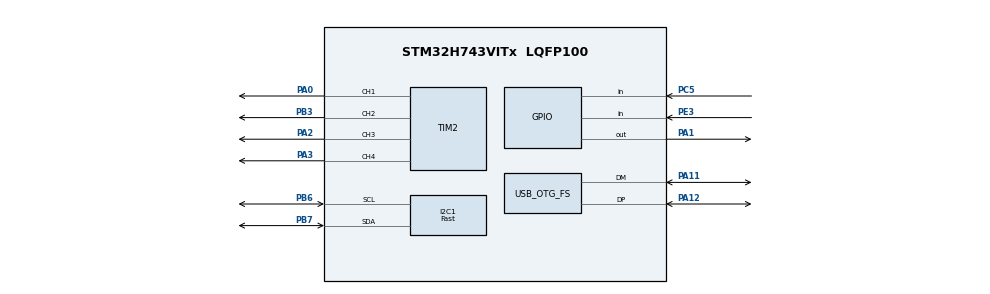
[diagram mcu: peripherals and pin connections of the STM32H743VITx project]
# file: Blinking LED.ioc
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CORTEX_M7.default_mode_Activation=1
I2C1.I2C_Speed_Mode=I2C_Fast
I2C1.Timing=0x00300F38
Mcu.Family=STM32H7
Mcu.Name=STM32H743VITx
Mcu.Package=LQFP100
NVIC.OTG_FS_IRQn=true\:0\:0\:false\:false\:true\:false\:true\:true
NVIC.PriorityGroup=NVIC_PRIORITYGROUP_4
PA0.Signal=S_TIM2_CH1_ETR
PA1.Signal=GPIO_Output
PA11.Mode=Device_Only
PA11.Signal=USB_OTG_FS_DM
PA12.Mode=Device_Only
PA12.Signal=USB_OTG_FS_DP
PA2.Signal=S_TIM2_CH3
PA3.Signal=S_TIM2_CH4
PB3\ (JTDO/TRACESWO).Signal=S_TIM2_CH2
PB6.Mode=I2C
PB6.Signal=I2C1_SCL
PB7.Mode=I2C
PB7.Signal=I2C1_SDA
PC5.GPIO_PuPd=GPIO_PULLUP
PC5.Signal=GPIO_Input
PE3.GPIO_PuPd=GPIO_PULLUP
PE3.Signal=GPIO_Input
ProjectManager.HeapSize=0x1000
ProjectManager.StackSize=0x1000
ProjectManager.TargetToolchain=STM32CubeIDE
RCC.ADCFreq_Value=129000000
RCC.APB1Freq_Value=32000000
RCC.APB2Freq_Value=64000000
RCC.APB3Freq_Value=64000000
RCC.APB4Freq_Value=64000000
RCC.CortexFreq_Value=64000000
RCC.D2PPRE1=RCC_APB1_DIV2
RCC.HCLKFreq_Value=64000000
RCC.SYSCLKFreq_VALUE=64000000
RCC.USBCLockSelection=RCC_USBCLKSOURCE_HSI48
RCC.USBFreq_Value=48000000
SH.S_TIM2_CH1_ETR.0=TIM2_CH1,PWM Generation1 CH1
SH.S_TIM2_CH2.0=TIM2_CH2,PWM Generation2 CH2
SH.S_TIM2_CH3.0=TIM2_CH3,PWM Generation3 CH3
SH.S_TIM2_CH4.0=TIM2_CH4,PWM Generation4 CH4
TIM2.Channel-PWM\ Generation1\ CH1=TIM_CHANNEL_1
TIM2.Channel-PWM\ Generation2\ CH2=TIM_CHANNEL_2
TIM2.Channel-PWM\ Generation3\ CH3=TIM_CHANNEL_3
TIM2.Channel-PWM\ Generation4\ CH4=TIM_CHANNEL_4
USB_DEVICE.CLASS_NAME_FS=CDC
USB_DEVICE.VirtualMode-CDC_FS=Cdc
USB_DEVICE.VirtualModeFS=Cdc_FS
USB_OTG_FS.VirtualMode=Device_Only
VP_MEMORYMAP_VS_MEMORYMAP.Mode=CurAppReg
VP_USB_DEVICE_VS_USB_DEVICE_CDC_FS.Mode=CDC_FS
board=custom

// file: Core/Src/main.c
/* USER CODE BEGIN Header */
/**
 ******************************************************************************
 * @file           : main.c
 * @brief          : Main program body
 ******************************************************************************
 * @attention
 *
 * Copyright (c) 2026 STMicroelectronics.
 * All rights reserved.
 *
 * This software is licensed under terms that can be found in the LICENSE file
 * in the root directory of this software component.
 * If no LICENSE file comes with this software, it is provided AS-IS.
 *
 ******************************************************************************
 */
/* USER CODE END Header */
#include "main.h"
#include "usb_device.h"

/* USER CODE BEGIN Includes */
#include <string.h>
#include <stdio.h>
#include <math.h>
#include "usbd_cdc_if.h"
/* USER CODE END Includes */

I2C_HandleTypeDef hi2c1;

TIM_HandleTypeDef htim2;

/* USER CODE BEGIN PV */
uint16_t MPU6500_ADDR = 0x68 << 1;
uint16_t QMC5883P_ADDR = 0x2C << 1;

uint8_t mpu_raw[14];
uint8_t mag_raw[6];

int16_t ax, ay, az, gx, gy, gz;
int16_t mx, my, mz;

// Floating point physical units
float ax_f, ay_f, az_f;
float gx_rad, gy_rad, gz_rad;
float mx_f, my_f, mz_f;

// Madgwick tuning and state
float q0 = 1.0f, q1 = 0.0f, q2 = 0.0f, q3 = 0.0f;
float beta = 0.2f;

char msg[150];

uint32_t previousTime = 0;
float roll, pitch, yaw;

// Initial hardcoded offsets - replace with your best known values
float mag_offset_x = 0.0f;
float mag_offset_y = 0.0f;
float mag_offset_z = 0.0f;

// Pulse widths in ticks (1000 = 1ms, 2000 = 2ms)
uint32_t motor1 = 1000;
uint32_t motor2 = 1000;
uint32_t motor3 = 1000;
uint32_t motor4 = 1000;

// Safety flag
uint8_t motors_armed = 0;

uint32_t loopTimer = 0;
const uint32_t loopInterval = 2500; // 2500 microseconds = 400Hz

// PID Gains (Tuning required)
float Kp_roll = 1.2f, Ki_roll = 0.01f, Kd_roll = 0.5f;
float Kp_pitch = 1.2f, Ki_pitch = 0.01f, Kd_pitch = 0.5f;
float Kp_yaw = 2.0f, Ki_yaw = 0.01f, Kd_yaw = 0.0f;

// Errors and Integrals
float error_roll, error_pitch, error_yaw;
float i_term_roll, i_term_pitch, i_term_yaw;
float last_error_roll, last_error_pitch, last_error_yaw;

// Setpoints (Desired angles - 0.0 means level hover)
float setpoint_roll = 0.0f;
float setpoint_pitch = 0.0f;
float setpoint_yaw = 0.0f;

// Throttle management
uint32_t base_throttle = 1300; // Hover base
/* USER CODE END PV */

void SystemClock_Config(void);
static void MPU_Config(void);
static void MX_GPIO_Init(void);
static void MX_I2C1_Init(void);
static void MX_TIM2_Init(void);
/* USER CODE BEGIN PFP */
void MadgwickAHRSupdate(float gx, float gy, float gz, float ax, float ay,
		float az, float mx, float my, float mz, float dt);
/* USER CODE END PFP */

int main(void) {

	/* MPU Configuration--------------------------------------------------------*/
	MPU_Config();

	/* MCU Configuration--------------------------------------------------------*/

	/* Reset of all peripherals, Initializes the Flash interface and the Systick. */
	HAL_Init();

	/* Configure the system clock */
	SystemClock_Config();

	/* Initialize all configured peripherals */
	MX_GPIO_Init();
	MX_USB_DEVICE_Init();
	MX_I2C1_Init();
	MX_TIM2_Init();
	/* USER CODE BEGIN 2 */

	// Start the PWM channels
	HAL_TIM_PWM_Start(&htim2, TIM_CHANNEL_1);
	HAL_TIM_PWM_Start(&htim2, TIM_CHANNEL_2);
	HAL_TIM_PWM_Start(&htim2, TIM_CHANNEL_3);
	HAL_TIM_PWM_Start(&htim2, TIM_CHANNEL_4);

	// Arming Sequence: Send 1.0ms (Low) for 3 seconds
	__HAL_TIM_SET_COMPARE(&htim2, TIM_CHANNEL_1, 1000);
	__HAL_TIM_SET_COMPARE(&htim2, TIM_CHANNEL_2, 1000);
	__HAL_TIM_SET_COMPARE(&htim2, TIM_CHANNEL_3, 1000);
	__HAL_TIM_SET_COMPARE(&htim2, TIM_CHANNEL_4, 1000);

	sprintf(msg, "ARMING ESCs... Keep Clear!\r\n");
	CDC_Transmit_FS((uint8_t*) msg, strlen(msg));
	HAL_Delay(3000);

	motors_armed = 1;

	uint8_t tmp;

	// --- STEP 1: RESET & WAKE MPU6500 ---
	tmp = 0x80; // Reset device
	HAL_I2C_Mem_Write(&hi2c1, MPU6500_ADDR, 0x6B, 1, &tmp, 1, 100);
	HAL_Delay(100);

	tmp = 0x01; // Wake up & use Auto Clock
	HAL_I2C_Mem_Write(&hi2c1, MPU6500_ADDR, 0x6B, 1, &tmp, 1, 100);
	HAL_Delay(10);

	// --- STEP 2: ENABLE I2C BYPASS ---
	// Ensure MPU is NOT an I2C Master on its own auxiliary bus
	tmp = 0x00;
	HAL_I2C_Mem_Write(&hi2c1, MPU6500_ADDR, 0x6A, 1, &tmp, 1, 100);

	// Enable Bypass (Pin 37, Bit 1)
	tmp = 0x02;
	HAL_I2C_Mem_Write(&hi2c1, MPU6500_ADDR, 0x37, 1, &tmp, 1, 100);
	HAL_Delay(50); // Let the bus stabilize

	// --- STEP 3: INITIALIZE QMC5883P ---
	// Config Reg A: 8-average, 15Hz default, Normal measurement
	tmp = 0x01;
	HAL_I2C_Mem_Write(&hi2c1, QMC5883P_ADDR, 0x0A, 1, &tmp, 1, 100);

	// Config Reg B: Gain = 1.3 Ga (Standard)
	tmp = 0x20;
	HAL_I2C_Mem_Write(&hi2c1, QMC5883P_ADDR, 0x01, 1, &tmp, 1, 100);

	// Mode Reg: Continuous Measurement Mode
	tmp = 0x00;
	HAL_I2C_Mem_Write(&hi2c1, QMC5883P_ADDR, 0x02, 1, &tmp, 1, 100);
	HAL_Delay(10);

	// --- I2C SCANNER ---
	char scan_msg[50];
	sprintf(scan_msg, "Scanning I2C Bus...\r\n");
	CDC_Transmit_FS((uint8_t*) scan_msg, strlen(scan_msg));
	HAL_Delay(1000); // Give USB time to connect

	for (uint8_t i = 1; i < 128; i++) {
		// Try to talk to address 'i'
		if (HAL_I2C_IsDeviceReady(&hi2c1, (uint16_t) (i << 1), 3, 50)
				== HAL_OK) {
			sprintf(scan_msg, "Found device at: 0x%02X\r\n", i);
			CDC_Transmit_FS((uint8_t*) scan_msg, strlen(scan_msg));
			HAL_Delay(50);
		}
	}
	sprintf(scan_msg, "Scan Complete.\r\n");
	CDC_Transmit_FS((uint8_t*) scan_msg, strlen(scan_msg));
	HAL_Delay(2000); // Pause so you can read the output

	uint8_t baro_id = 0;
	char id_msg[60];

	// Try Door 1: 0x76
	if (HAL_I2C_Mem_Read(&hi2c1, (0x76 << 1), 0xD0, 1, &baro_id, 1, 100)
			== HAL_OK) {
		sprintf(id_msg, "Success at 0x76! ID: 0x%02X\r\n", baro_id);
	}
	// Try Door 2: 0x77
	else if (HAL_I2C_Mem_Read(&hi2c1, (0x77 << 1), 0xD0, 1, &baro_id, 1, 100)
			== HAL_OK) {
		sprintf(id_msg, "Success at 0x77! ID: 0x%02X\r\n", baro_id);
	}
	// Nobody answered
	else {
		sprintf(id_msg, "Failed! No barometer at 0x76 or 0x77.\r\n");
	}

	CDC_Transmit_FS((uint8_t*) id_msg, strlen(id_msg));
	HAL_Delay(2000);

	CoreDebug->DEMCR |= CoreDebug_DEMCR_TRCENA_Msk;
	DWT->CYCCNT = 0;
	DWT->CTRL |= DWT_CTRL_CYCCNTENA_Msk;
	uint32_t last_cycle = DWT->CYCCNT;
	uint32_t ticks_per_loop = SystemCoreClock / 400; // Cycles for 400Hz
	/* USER CODE END 2 */

	/* Infinite loop */
	/* USER CODE BEGIN WHILE */
	previousTime = HAL_GetTick();
	while (1) {
		// Wait until exactly 2.5ms has passed since the last loop
		while ((DWT->CYCCNT - last_cycle) < ticks_per_loop)
			;
		last_cycle = DWT->CYCCNT;

		/* USER CODE END WHILE */

		/* USER CODE BEGIN 3 */

		// --- BUTTON TRIGGERED CALIBRATION (K1 / PE3) ---
		if (HAL_GPIO_ReadPin(GPIOE, GPIO_PIN_3) == GPIO_PIN_RESET) {
			int16_t mx_min = 32767, mx_max = -32768;
			int16_t my_min = 32767, my_max = -32768;
			int16_t mz_min = 32767, mz_max = -32768;

			int cal_len = sprintf(msg,
					">>> CALIBRATING: ROTATE SENSOR IN FIGURE-8 NOW! <<<\r\n");
			CDC_Transmit_FS((uint8_t*) msg, cal_len);

			uint32_t cal_start = HAL_GetTick();
			while ((HAL_GetTick() - cal_start) < 15000) { // 15 Seconds
				uint8_t status = 0;
				HAL_I2C_Mem_Read(&hi2c1, QMC5883P_ADDR, 0x09, 1, &status, 1,
						10);
				if (status & 0x01) {
					if (HAL_I2C_Mem_Read(&hi2c1, QMC5883P_ADDR, 0x01, 1,
							mag_raw, 6, 10) == HAL_OK) {
						int16_t tx = (int16_t) (mag_raw[1] << 8 | mag_raw[0]);
						int16_t ty = (int16_t) (mag_raw[3] << 8 | mag_raw[2]);
						int16_t tz = (int16_t) (mag_raw[5] << 8 | mag_raw[4]);

						if (tx < mx_min)
							mx_min = tx;
						if (tx > mx_max)
							mx_max = tx;
						if (ty < my_min)
							my_min = ty;
						if (ty > my_max)
							my_max = ty;
						if (tz < mz_min)
							mz_min = tz;
						if (tz > mz_max)
							mz_max = tz;
					}
				}
				HAL_GPIO_TogglePin(GPIOA, GPIO_PIN_1);
				HAL_Delay(10);
			}

			mag_offset_x = (mx_max + mx_min) / 2.0f;
			mag_offset_y = (my_max + my_min) / 2.0f;
			mag_offset_z = (mz_max + mz_min) / 2.0f;

			cal_len = sprintf(msg,
					"DONE! NEW OFFSETS: X:%.1f Y:%.1f Z:%.1f\r\n", mag_offset_x,
					mag_offset_y, mag_offset_z);
			CDC_Transmit_FS((uint8_t*) msg, cal_len);

			previousTime = HAL_GetTick(); // Reset time to avoid dt spike
		} // <--- Button IF statement ends here

		// --- 1. CALCULATE TRUE delta-t ---
		uint32_t currentTime = HAL_GetTick();
		float dt = (currentTime - previousTime) / 1000.0f;
		previousTime = currentTime;
		if (dt <= 0.0f)
			dt = 0.001f;

		// --- 2. READ MPU6500 ---
		if (HAL_I2C_Mem_Read(&hi2c1, MPU6500_ADDR, 0x3B, 1, mpu_raw, 14, 100)
				== HAL_OK) {
			ax = (int16_t) (mpu_raw[0] << 8 | mpu_raw[1]);
			ay = (int16_t) (mpu_raw[2] << 8 | mpu_raw[3]);
			az = (int16_t) (mpu_raw[4] << 8 | mpu_raw[5]);
			gx = (int16_t) (mpu_raw[8] << 8 | mpu_raw[9]);
			gy = (int16_t) (mpu_raw[10] << 8 | mpu_raw[11]);
			gz = (int16_t) (mpu_raw[12] << 8 | mpu_raw[13]);
		}

		// --- 3. READ QMC5883P ---
		uint8_t status = 0;
		HAL_I2C_Mem_Read(&hi2c1, QMC5883P_ADDR, 0x09, 1, &status, 1, 100);
		if (status & 0x01) {
			if (HAL_I2C_Mem_Read(&hi2c1, QMC5883P_ADDR, 0x01, 1, mag_raw, 6,
					100) == HAL_OK) {
				mx = (int16_t) (mag_raw[1] << 8 | mag_raw[0]);
				my = (int16_t) (mag_raw[3] << 8 | mag_raw[2]);
				mz = (int16_t) (mag_raw[5] << 8 | mag_raw[4]);
			}
		}

		// --- 4. CONVERT TO PHYSICS UNITS ---
		ax_f = (float) ax;
		ay_f = (float) ay;
		az_f = (float) az;
		gx_rad = (float) gx * 0.000133162f;
		gy_rad = (float) gy * 0.000133162f;
		gz_rad = (float) gz * 0.000133162f;

		mx_f = (float) mx - mag_offset_x;
		my_f = (float) my - mag_offset_y;
		mz_f = (float) mz - mag_offset_z;

		// --- 5. RUN FILTER & CONVERT ---
		MadgwickAHRSupdate(gx_rad, gy_rad, gz_rad, ax_f, ay_f, az_f, mx_f, my_f,
				mz_f, dt);

		roll = -atan2f(q0 * q1 + q2 * q3, 0.5f - q1 * q1 - q2 * q2) * 57.29578f;
		pitch = asinf(-2.0f * (q1 * q3 - q0 * q2)) * 57.29578f;
		yaw = atan2f(q1 * q2 + q0 * q3, 0.5f - q2 * q2 - q3 * q3) * 57.29578f;

		// --- FIX 1: Shift North to 0 degrees ---
		yaw -= 90.0f;

		// --- FIX 2: Keep Yaw between 0 and 360 (No negative jumps) ---
		if (yaw < 0.0f) {
			yaw += 360.0f;
		}
		if (yaw >= 360.0f) {
			yaw -= 360.0f;
		}
		// --- 6. PRINT ---
		int len = sprintf(msg, "Roll: %6.2f | Pitch: %6.2f | Yaw: %6.2f\r\n",
				roll, pitch, yaw);
		CDC_Transmit_FS((uint8_t*) msg, len);

		HAL_GPIO_TogglePin(GPIOA, GPIO_PIN_1);

		// --- PID CALCULATION ---

		// 1. Roll PID
		error_roll = roll - setpoint_roll;
		i_term_roll += error_roll * dt;
		float d_roll = (error_roll - last_error_roll) / dt;
		float out_roll = (Kp_roll * error_roll) + (Ki_roll * i_term_roll) + (Kd_roll * d_roll);
		last_error_roll = error_roll;

		// 2. Pitch PID
		error_pitch = pitch - setpoint_pitch;
		i_term_pitch += error_pitch * dt;
		float d_pitch = (error_pitch - last_error_pitch) / dt;
		float out_pitch = (Kp_pitch * error_pitch) + (Ki_pitch * i_term_pitch) + (Kd_pitch * d_pitch);
		last_error_pitch = error_pitch;

		// 3. Yaw PID (Simple version)
		error_yaw = yaw - setpoint_yaw;
		// Handle the 360 degree wrap-around error
		if (error_yaw > 180) error_yaw -= 360;
		if (error_yaw < -180) error_yaw += 360;
		float out_yaw = Kp_yaw * error_yaw;

		// --- MOTOR MIXER ---
		// Assuming "X" configuration
		if (motors_armed) {
		    motor1 = base_throttle + out_pitch - out_roll + out_yaw; // Front Left
		    motor2 = base_throttle + out_pitch + out_roll - out_yaw; // Front Right
		    motor3 = base_throttle - out_pitch - out_roll - out_yaw; // Back Left
		    motor4 = base_throttle - out_pitch + out_roll + out_yaw; // Back Right

		    // Constrain PWM to safe limits (1000 to 2000)
		    if(motor1 < 1050) motor1 = 1050;
		    if(motor1 > 1900) motor1 = 1900;

		    if(motor2 < 1050) motor2 = 1050;
		    if(motor2 > 1900) motor2 = 1900;

		    if(motor3 < 1050) motor3 = 1050;
		    if(motor3 > 1900) motor3 = 1900;

		    if(motor4 < 1050) motor4 = 1050;
		    if(motor4 > 1900) motor4 = 1900;

		    __HAL_TIM_SET_COMPARE(&htim2, TIM_CHANNEL_1, motor1);
		    __HAL_TIM_SET_COMPARE(&htim2, TIM_CHANNEL_2, motor2);
		    __HAL_TIM_SET_COMPARE(&htim2, TIM_CHANNEL_3, motor3);
		    __HAL_TIM_SET_COMPARE(&htim2, TIM_CHANNEL_4, motor4);
		}

		// EMERGENCY STOP: If K2 (PC5) is pressed, kill the motors instantly
		if (HAL_GPIO_ReadPin(GPIOC, GPIO_PIN_5) == GPIO_PIN_RESET) {
			motors_armed = 0;
			__HAL_TIM_SET_COMPARE(&htim2, TIM_CHANNEL_1, 1000);
			__HAL_TIM_SET_COMPARE(&htim2, TIM_CHANNEL_2, 1000);
			__HAL_TIM_SET_COMPARE(&htim2, TIM_CHANNEL_3, 1000);
			__HAL_TIM_SET_COMPARE(&htim2, TIM_CHANNEL_4, 1000);
			sprintf(msg, "!!! EMERGENCY STOP ACTIVATED !!!\r\n");
			CDC_Transmit_FS((uint8_t*) msg, strlen(msg));

			}

		}
		/* USER CODE END 3 */
	}

	/**
	 * @brief System Clock Configuration
	 * @retval None
	 */
	void SystemClock_Config(void) {
		RCC_OscInitTypeDef RCC_OscInitStruct = { 0 };
		RCC_ClkInitTypeDef RCC_ClkInitStruct = { 0 };

		/** Supply configuration update enable
		 */
		HAL_PWREx_ConfigSupply(PWR_LDO_SUPPLY);

		/** Configure the main internal regulator output voltage
		 */
		__HAL_PWR_VOLTAGESCALING_CONFIG(PWR_REGULATOR_VOLTAGE_SCALE3);

		while (!__HAL_PWR_GET_FLAG(PWR_FLAG_VOSRDY)) {
		}

		/** Initializes the RCC Oscillators according to the specified parameters
		 * in the RCC_OscInitTypeDef structure.
		 */
		RCC_OscInitStruct.OscillatorType = RCC_OSCILLATORTYPE_HSI48
				| RCC_OSCILLATORTYPE_HSI;
		RCC_OscInitStruct.HSIState = RCC_HSI_DIV1;
		RCC_OscInitStruct.HSICalibrationValue = RCC_HSICALIBRATION_DEFAULT;
		RCC_OscInitStruct.HSI48State = RCC_HSI48_ON;
		RCC_OscInitStruct.PLL.PLLState = RCC_PLL_NONE;
		if (HAL_RCC_OscConfig(&RCC_OscInitStruct) != HAL_OK) {
			Error_Handler();
		}

		/** Initializes the CPU, AHB and APB buses clocks
		 */
		RCC_ClkInitStruct.ClockType = RCC_CLOCKTYPE_HCLK | RCC_CLOCKTYPE_SYSCLK
				| RCC_CLOCKTYPE_PCLK1 | RCC_CLOCKTYPE_PCLK2
				| RCC_CLOCKTYPE_D3PCLK1 | RCC_CLOCKTYPE_D1PCLK1;
		RCC_ClkInitStruct.SYSCLKSource = RCC_SYSCLKSOURCE_HSI;
		RCC_ClkInitStruct.SYSCLKDivider = RCC_SYSCLK_DIV1;
		RCC_ClkInitStruct.AHBCLKDivider = RCC_HCLK_DIV1;
		RCC_ClkInitStruct.APB3CLKDivider = RCC_APB3_DIV1;
		RCC_ClkInitStruct.APB1CLKDivider = RCC_APB1_DIV2;
		RCC_ClkInitStruct.APB2CLKDivider = RCC_APB2_DIV1;
		RCC_ClkInitStruct.APB4CLKDivider = RCC_APB4_DIV1;

		if (HAL_RCC_ClockConfig(&RCC_ClkInitStruct, FLASH_LATENCY_1)
				!= HAL_OK) {
			Error_Handler();
		}
	}

	/**
	 * @brief I2C1 Initialization Function
	 * @param None
	 * @retval None
	 */
	static void MX_I2C1_Init(void) {

		hi2c1.Instance = I2C1;
		hi2c1.Init.Timing = 0x00300F38;
		hi2c1.Init.OwnAddress1 = 0;
		hi2c1.Init.AddressingMode = I2C_ADDRESSINGMODE_7BIT;
		hi2c1.Init.DualAddressMode = I2C_DUALADDRESS_DISABLE;
		hi2c1.Init.OwnAddress2 = 0;
		hi2c1.Init.OwnAddress2Masks = I2C_OA2_NOMASK;
		hi2c1.Init.GeneralCallMode = I2C_GENERALCALL_DISABLE;
		hi2c1.Init.NoStretchMode = I2C_NOSTRETCH_DISABLE;
		if (HAL_I2C_Init(&hi2c1) != HAL_OK) {
			Error_Handler();
		}

		/** Configure Analogue filter
		 */
		if (HAL_I2CEx_ConfigAnalogFilter(&hi2c1, I2C_ANALOGFILTER_ENABLE)
				!= HAL_OK) {
			Error_Handler();
		}

		/** Configure Digital filter
		 */
		if (HAL_I2CEx_ConfigDigitalFilter(&hi2c1, 0) != HAL_OK) {
			Error_Handler();
		}

	}

	/**
	 * @brief TIM2 Initialization Function
	 * @param None
	 * @retval None
	 */
	static void MX_TIM2_Init(void) {

		TIM_MasterConfigTypeDef sMasterConfig = { 0 };
		TIM_OC_InitTypeDef sConfigOC = { 0 };

		htim2.Instance = TIM2;
		htim2.Init.Prescaler = 63;
		htim2.Init.CounterMode = TIM_COUNTERMODE_UP;
		htim2.Init.Period = 19999;
		htim2.Init.ClockDivision = TIM_CLOCKDIVISION_DIV1;
		htim2.Init.AutoReloadPreload = TIM_AUTORELOAD_PRELOAD_DISABLE;
		if (HAL_TIM_PWM_Init(&htim2) != HAL_OK) {
			Error_Handler();
		}
		sMasterConfig.MasterOutputTrigger = TIM_TRGO_RESET;
		sMasterConfig.MasterSlaveMode = TIM_MASTERSLAVEMODE_DISABLE;
		if (HAL_TIMEx_MasterConfigSynchronization(&htim2, &sMasterConfig)
				!= HAL_OK) {
			Error_Handler();
		}
		sConfigOC.OCMode = TIM_OCMODE_PWM1;
		sConfigOC.Pulse = 0;
		sConfigOC.OCPolarity = TIM_OCPOLARITY_HIGH;
		sConfigOC.OCFastMode = TIM_OCFAST_DISABLE;
		if (HAL_TIM_PWM_ConfigChannel(&htim2, &sConfigOC, TIM_CHANNEL_1)
				!= HAL_OK) {
			Error_Handler();
		}
		if (HAL_TIM_PWM_ConfigChannel(&htim2, &sConfigOC, TIM_CHANNEL_2)
				!= HAL_OK) {
			Error_Handler();
		}
		if (HAL_TIM_PWM_ConfigChannel(&htim2, &sConfigOC, TIM_CHANNEL_3)
				!= HAL_OK) {
			Error_Handler();
		}
		if (HAL_TIM_PWM_ConfigChannel(&htim2, &sConfigOC, TIM_CHANNEL_4)
				!= HAL_OK) {
			Error_Handler();
		}
		HAL_TIM_MspPostInit(&htim2);

	}

	/**
	 * @brief GPIO Initialization Function
	 * @param None
	 * @retval None
	 */
	static void MX_GPIO_Init(void) {
		GPIO_InitTypeDef GPIO_InitStruct = { 0 };

		/* GPIO Ports Clock Enable */
		__HAL_RCC_GPIOE_CLK_ENABLE();
		__HAL_RCC_GPIOA_CLK_ENABLE();
		__HAL_RCC_GPIOC_CLK_ENABLE();
		__HAL_RCC_GPIOB_CLK_ENABLE();

		/*Configure GPIO pin Output Level */
		HAL_GPIO_WritePin(GPIOA, GPIO_PIN_1, GPIO_PIN_RESET);

		/*Configure GPIO pin : PE3 */
		GPIO_InitStruct.Pin = GPIO_PIN_3;
		GPIO_InitStruct.Mode = GPIO_MODE_INPUT;
		GPIO_InitStruct.Pull = GPIO_PULLUP;
		HAL_GPIO_Init(GPIOE, &GPIO_InitStruct);

		/*Configure GPIO pin : PA1 */
		GPIO_InitStruct.Pin = GPIO_PIN_1;
		GPIO_InitStruct.Mode = GPIO_MODE_OUTPUT_PP;
		GPIO_InitStruct.Pull = GPIO_NOPULL;
		GPIO_InitStruct.Speed = GPIO_SPEED_FREQ_LOW;
		HAL_GPIO_Init(GPIOA, &GPIO_InitStruct);

		/*Configure GPIO pin : PC5 */
		GPIO_InitStruct.Pin = GPIO_PIN_5;
		GPIO_InitStruct.Mode = GPIO_MODE_INPUT;
		GPIO_InitStruct.Pull = GPIO_PULLUP;
		HAL_GPIO_Init(GPIOC, &GPIO_InitStruct);

		/*AnalogSwitch Config */
		HAL_SYSCFG_AnalogSwitchConfig(SYSCFG_SWITCH_PA1,
		SYSCFG_SWITCH_PA1_CLOSE);

	}

	/* USER CODE BEGIN 4 */

// Fast inverse square root
	float invSqrt(float x) {
		return 1.0f / sqrtf(x);
	}

// The Madgwick 9DOF Update Function
	void MadgwickAHRSupdate(float gx, float gy, float gz, float ax, float ay,
			float az, float mx, float my, float mz, float dt) {
		float recipNorm;
		float s0, s1, s2, s3;
		float qDot1, qDot2, qDot3, qDot4;
		float hx, hy;
		float _2q0mx, _2q0my, _2q0mz, _2q1mx, _2bx, _2bz, _4bx, _4bz, _2q0,
				_2q1, _2q2, _2q3, _2q0q2, _2q2q3, q0q0, q0q1, q0q2, q0q3, q1q1,
				q1q2, q1q3, q2q2, q2q3, q3q3;

		// Calculate dynamic sample frequency
		float sampleFreq = 1.0f / dt;

		// Rate of change of quaternion from gyroscope
		qDot1 = 0.5f * (-q1 * gx - q2 * gy - q3 * gz);
		qDot2 = 0.5f * (q0 * gx + q2 * gz - q3 * gy);
		qDot3 = 0.5f * (q0 * gy - q1 * gz + q3 * gx);
		qDot4 = 0.5f * (q0 * gz + q1 * gy - q2 * gx);

		// Compute feedback only if accelerometer measurement valid
		if (!((ax == 0.0f) && (ay == 0.0f) && (az == 0.0f))) {

			// Normalize accelerometer measurement
			recipNorm = invSqrt(ax * ax + ay * ay + az * az);
			ax *= recipNorm;
			ay *= recipNorm;
			az *= recipNorm;

			// Normalize magnetometer measurement
			if (!((mx == 0.0f) && (my == 0.0f) && (mz == 0.0f))) {
				recipNorm = invSqrt(mx * mx + my * my + mz * mz);
				mx *= recipNorm;
				my *= recipNorm;
				mz *= recipNorm;

				// Auxiliary variables to avoid repeated arithmetic
				_2q0mx = 2.0f * q0 * mx;
				_2q0my = 2.0f * q0 * my;
				_2q0mz = 2.0f * q0 * mz;
				_2q1mx = 2.0f * q1 * mx;
				_2q0 = 2.0f * q0;
				_2q1 = 2.0f * q1;
				_2q2 = 2.0f * q2;
				_2q3 = 2.0f * q3;
				_2q0q2 = 2.0f * q0 * q2;
				_2q2q3 = 2.0f * q2 * q3;
				q0q0 = q0 * q0;
				q0q1 = q0 * q1;
				q0q2 = q0 * q2;
				q0q3 = q0 * q3;
				q1q1 = q1 * q1;
				q1q2 = q1 * q2;
				q1q3 = q1 * q3;
				q2q2 = q2 * q2;
				q2q3 = q2 * q3;
				q3q3 = q3 * q3;

				// Reference direction of Earth's magnetic field
				hx = mx * q0q0 - _2q0my * q3 + _2q0mz * q2 + mx * q1q1
						+ _2q1 * my * q2 + _2q1 * mz * q3 - mx * q2q2
						- mx * q3q3;
				hy = _2q0mx * q3 + my * q0q0 - _2q0mz * q1 + _2q1mx * q2
						- my * q1q1 + my * q2q2 + _2q2 * mz * q3 - my * q3q3;
				_2bx = sqrtf(hx * hx + hy * hy);
				_2bz = -_2q0mx * q2 + _2q0my * q1 + mz * q0q0 + _2q1mx * q3
						- mz * q1q1 + _2q2 * my * q3 - mz * q2q2 + mz * q3q3;
				_4bx = 2.0f * _2bx;
				_4bz = 2.0f * _2bz;

				// Gradient decent algorithm corrective step
				s0 = -_2q2 * (2.0f * q1q3 - _2q0q2 - ax)
						+ _2q1 * (2.0f * q0q1 + _2q2q3 - ay)
						- _2bz * q2
								* (_2bx * (0.5f - q2q2 - q3q3)
										+ _2bz * (q1q3 - q0q2) - mx)
						+ (-_2bx * q3 + _2bz * q1)
								* (_2bx * (q1q2 - q0q3) + _2bz * (q0q1 + q2q3)
										- my)
						+ _2bx * q2
								* (_2bx * (q0q2 + q1q3)
										+ _2bz * (0.5f - q1q1 - q2q2) - mz);
				s1 = _2q3 * (2.0f * q1q3 - _2q0q2 - ax)
						+ _2q0 * (2.0f * q0q1 + _2q2q3 - ay)
						- 4.0f * q1 * (1.0f - 2.0f * q1q1 - 2.0f * q2q2 - az)
						+ _2bz * q3
								* (_2bx * (0.5f - q2q2 - q3q3)
										+ _2bz * (q1q3 - q0q2) - mx)
						+ (_2bx * q2 + _2bz * q0)
								* (_2bx * (q1q2 - q0q3) + _2bz * (q0q1 + q2q3)
										- my)
						+ (_2bx * q3 - _4bz * q1)
								* (_2bx * (q0q2 + q1q3)
										+ _2bz * (0.5f - q1q1 - q2q2) - mz);
				s2 = -_2q0 * (2.0f * q1q3 - _2q0q2 - ax)
						+ _2q3 * (2.0f * q0q1 + _2q2q3 - ay)
						- 4.0f * q2 * (1.0f - 2.0f * q1q1 - 2.0f * q2q2 - az)
						+ (-_4bx * q2 - _2bz * q0)
								* (_2bx * (0.5f - q2q2 - q3q3)
										+ _2bz * (q1q3 - q0q2) - mx)
						+ (_2bx * q1 + _2bz * q3)
								* (_2bx * (q1q2 - q0q3) + _2bz * (q0q1 + q2q3)
										- my)
						+ (_2bx * q0 - _4bz * q2)
								* (_2bx * (q0q2 + q1q3)
										+ _2bz * (0.5f - q1q1 - q2q2) - mz);
				s3 = _2q1 * (2.0f * q1q3 - _2q0q2 - ax)
						+ _2q2 * (2.0f * q0q1 + _2q2q3 - ay)
						+ (-_4bx * q3 + _2bz * q1)
								* (_2bx * (0.5f - q2q2 - q3q3)
										+ _2bz * (q1q3 - q0q2) - mx)
						+ (-_2bx * q0 + _2bz * q2)
								* (_2bx * (q1q2 - q0q3) + _2bz * (q0q1 + q2q3)
										- my)
						+ _2bx * q1
								* (_2bx * (q0q2 + q1q3)
										+ _2bz * (0.5f - q1q1 - q2q2) - mz);

				recipNorm = invSqrt(s0 * s0 + s1 * s1 + s2 * s2 + s3 * s3);
				s0 *= recipNorm;
				s1 *= recipNorm;
				s2 *= recipNorm;
				s3 *= recipNorm;

				// Apply feedback step
				qDot1 -= beta * s0;
				qDot2 -= beta * s1;
				qDot3 -= beta * s2;
				qDot4 -= beta * s3;
			}

			// Integrate rate of change of quaternion to yield quaternion
			q0 += qDot1 * (1.0f / sampleFreq);
			q1 += qDot2 * (1.0f / sampleFreq);
			q2 += qDot3 * (1.0f / sampleFreq);
			q3 += qDot4 * (1.0f / sampleFreq);

			// Normalize quaternion
			recipNorm = invSqrt(q0 * q0 + q1 * q1 + q2 * q2 + q3 * q3);
			q0 *= recipNorm;
			q1 *= recipNorm;
			q2 *= recipNorm;
			q3 *= recipNorm;
		}
	}
	/* USER CODE END 4 */

	/* MPU Configuration */

	void MPU_Config(void) {
		MPU_Region_InitTypeDef MPU_InitStruct = { 0 };

		/* Disables the MPU */
		HAL_MPU_Disable();

		/** Initializes and configures the Region and the memory to be protected
		 */
		MPU_InitStruct.Enable = MPU_REGION_ENABLE;
		MPU_InitStruct.Number = MPU_REGION_NUMBER0;
		MPU_InitStruct.BaseAddress = 0x0;
		MPU_InitStruct.Size = MPU_REGION_SIZE_4GB;
		MPU_InitStruct.SubRegionDisable = 0x87;
		MPU_InitStruct.TypeExtField = MPU_TEX_LEVEL0;
		MPU_InitStruct.AccessPermission = MPU_REGION_NO_ACCESS;
		MPU_InitStruct.DisableExec = MPU_INSTRUCTION_ACCESS_DISABLE;
		MPU_InitStruct.IsShareable = MPU_ACCESS_SHAREABLE;
		MPU_InitStruct.IsCacheable = MPU_ACCESS_NOT_CACHEABLE;
		MPU_InitStruct.IsBufferable = MPU_ACCESS_NOT_BUFFERABLE;

		HAL_MPU_ConfigRegion(&MPU_InitStruct);
		/* Enables the MPU */
		HAL_MPU_Enable(MPU_PRIVILEGED_DEFAULT);

	}

	/**
	 * @brief  This function is executed in case of error occurrence.
	 * @retval None
	 */
	void Error_Handler(void) {
		__disable_irq();
		while (1) {
		}
	}
